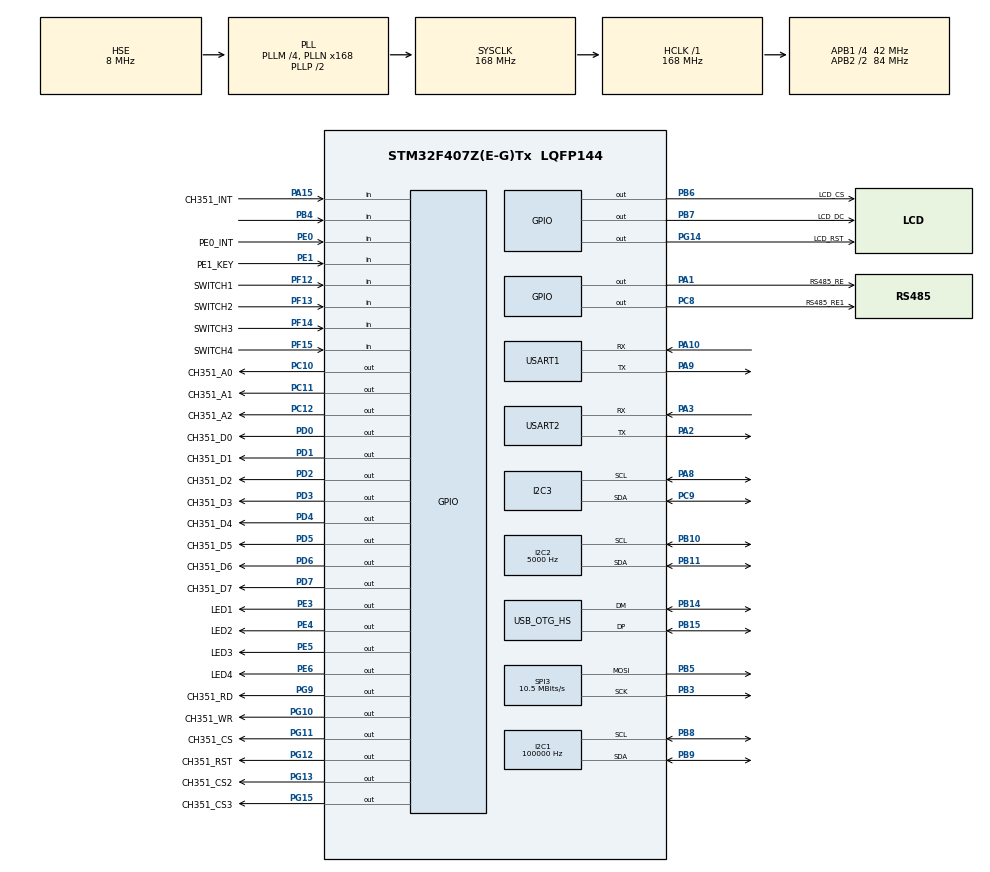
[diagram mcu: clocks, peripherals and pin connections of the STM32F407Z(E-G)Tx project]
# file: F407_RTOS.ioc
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Dma.Request0=USART2_RX
Dma.Request1=USART2_TX
Dma.Request2=SPI3_TX
Dma.Request3=USART1_RX
Dma.Request4=USART1_TX
Dma.SPI3_TX.2.Direction=DMA_MEMORY_TO_PERIPH
Dma.SPI3_TX.2.FIFOMode=DMA_FIFOMODE_DISABLE
Dma.SPI3_TX.2.Instance=DMA1_Stream7
Dma.SPI3_TX.2.MemDataAlignment=DMA_MDATAALIGN_BYTE
Dma.SPI3_TX.2.MemInc=DMA_MINC_ENABLE
Dma.SPI3_TX.2.Mode=DMA_NORMAL
Dma.SPI3_TX.2.PeriphDataAlignment=DMA_PDATAALIGN_BYTE
Dma.SPI3_TX.2.PeriphInc=DMA_PINC_DISABLE
Dma.SPI3_TX.2.Priority=DMA_PRIORITY_LOW
Dma.USART1_RX.3.Direction=DMA_PERIPH_TO_MEMORY
Dma.USART1_RX.3.FIFOMode=DMA_FIFOMODE_DISABLE
Dma.USART1_RX.3.Instance=DMA2_Stream2
Dma.USART1_RX.3.MemDataAlignment=DMA_MDATAALIGN_BYTE
Dma.USART1_RX.3.MemInc=DMA_MINC_ENABLE
Dma.USART1_RX.3.Mode=DMA_NORMAL
Dma.USART1_RX.3.PeriphDataAlignment=DMA_PDATAALIGN_BYTE
Dma.USART1_RX.3.PeriphInc=DMA_PINC_DISABLE
Dma.USART1_RX.3.Priority=DMA_PRIORITY_LOW
Dma.USART1_TX.4.Direction=DMA_MEMORY_TO_PERIPH
Dma.USART1_TX.4.FIFOMode=DMA_FIFOMODE_DISABLE
Dma.USART1_TX.4.Instance=DMA2_Stream7
Dma.USART1_TX.4.MemDataAlignment=DMA_MDATAALIGN_BYTE
Dma.USART1_TX.4.MemInc=DMA_MINC_ENABLE
Dma.USART1_TX.4.Mode=DMA_NORMAL
Dma.USART1_TX.4.PeriphDataAlignment=DMA_PDATAALIGN_BYTE
Dma.USART1_TX.4.PeriphInc=DMA_PINC_DISABLE
Dma.USART1_TX.4.Priority=DMA_PRIORITY_LOW
Dma.USART2_RX.0.Direction=DMA_PERIPH_TO_MEMORY
Dma.USART2_RX.0.FIFOMode=DMA_FIFOMODE_DISABLE
Dma.USART2_RX.0.Instance=DMA1_Stream5
Dma.USART2_RX.0.MemDataAlignment=DMA_MDATAALIGN_BYTE
Dma.USART2_RX.0.MemInc=DMA_MINC_ENABLE
Dma.USART2_RX.0.Mode=DMA_NORMAL
Dma.USART2_RX.0.PeriphDataAlignment=DMA_PDATAALIGN_BYTE
Dma.USART2_RX.0.PeriphInc=DMA_PINC_DISABLE
Dma.USART2_RX.0.Priority=DMA_PRIORITY_LOW
Dma.USART2_TX.1.Direction=DMA_MEMORY_TO_PERIPH
Dma.USART2_TX.1.FIFOMode=DMA_FIFOMODE_DISABLE
Dma.USART2_TX.1.Instance=DMA1_Stream6
Dma.USART2_TX.1.MemDataAlignment=DMA_MDATAALIGN_BYTE
Dma.USART2_TX.1.MemInc=DMA_MINC_ENABLE
Dma.USART2_TX.1.Mode=DMA_NORMAL
Dma.USART2_TX.1.PeriphDataAlignment=DMA_PDATAALIGN_BYTE
Dma.USART2_TX.1.PeriphInc=DMA_PINC_DISABLE
Dma.USART2_TX.1.Priority=DMA_PRIORITY_LOW
FREERTOS.Tasks01=defaultTask,0,128,StartDefaultTask,Default,NULL,Dynamic,NULL,NULL;Device01,-3,128,Device01_task,Default,NULL,Dynamic,NULL,NULL;Device02,-3,128,Device02_task,Default,NULL,Dynamic,NULL,NULL;Device03,-3,128,Device03_task,Default,NULL,Dynamic,NULL,NULL;Device04,-3,128,Device04_task,Default,NULL,Dynamic,NULL,NULL;Device05,-3,128,Device05_task,Default,NULL,Dynamic,NULL,NULL;Device06,-3,128,Device06_task,Default,NULL,Dynamic,NULL,NULL;Device07,-3,128,Device07_task,Default,NULL,Dynamic,NULL,NULL;Device08,-3,128,Device08_task,Default,NULL,Dynamic,NULL,NULL;Device09,-3,128,Device09_task,Default,NULL,Dynamic,NULL,NULL;Device0A,-3,128,Device0A_task,Default,NULL,Dynamic,NULL,NULL;Device0B,-3,128,Device0B_task,Default,NULL,Dynamic,NULL,NULL;Device0C,-3,128,Device0C_task,Default,NULL,Dynamic,NULL,NULL;Device0D,-3,128,Device0D_task,Default,NULL,Dynamic,NULL,NULL;Device0E,-3,128,Device0E_task,Default,NULL,Dynamic,NULL,NULL;Device0F,-3,128,Device0F_task,Default,NULL,Dynamic,NULL,NULL;RS485_Slave,-3,128,RS485_Slave_task,Default,NULL,Dynamic,NULL,NULL;RS485_Master,-3,128,RS485_Master_task,Default,NULL,Dynamic,NULL,NULL
I2C1.ClockSpeed=100000
I2C1.I2C_Mode=I2C_Standard
I2C2.ClockSpeed=5000
Mcu.Family=STM32F4
Mcu.Name=STM32F407Z(E-G)Tx
Mcu.Package=LQFP144
NVIC.DMA1_Stream5_IRQn=true\:5\:0\:false\:false\:true\:true\:false\:true\:true
NVIC.DMA1_Stream6_IRQn=true\:5\:0\:false\:false\:true\:true\:false\:true\:true
NVIC.DMA1_Stream7_IRQn=true\:5\:0\:false\:false\:true\:true\:false\:true\:true
NVIC.DMA2_Stream2_IRQn=true\:5\:0\:false\:false\:true\:true\:false\:true\:true
NVIC.DMA2_Stream7_IRQn=true\:5\:0\:false\:false\:true\:true\:false\:true\:true
NVIC.OTG_HS_EP1_IN_IRQn=true\:5\:0\:false\:false\:true\:true\:true\:true\:true
NVIC.OTG_HS_EP1_OUT_IRQn=true\:5\:0\:false\:false\:true\:true\:true\:true\:true
NVIC.OTG_HS_IRQn=true\:5\:0\:false\:false\:true\:true\:false\:true\:true
NVIC.PriorityGroup=NVIC_PRIORITYGROUP_4
NVIC.TIM7_IRQn=true\:15\:0\:false\:false\:true\:false\:false\:true\:true
NVIC.TimeBase=TIM7_IRQn
NVIC.TimeBaseIP=TIM7
NVIC.USART1_IRQn=true\:5\:0\:false\:false\:true\:true\:true\:true\:true
NVIC.USART2_IRQn=true\:5\:0\:false\:false\:true\:true\:true\:true\:true
PA1.GPIO_Label=RS485_RE
PA1.Signal=GPIO_Output
PA10.Mode=Asynchronous
PA10.Signal=USART1_RX
PA13.Mode=Serial_Wire
PA13.Signal=SYS_JTMS-SWDIO
PA14.Mode=Serial_Wire
PA14.Signal=SYS_JTCK-SWCLK
PA15.GPIO_Label=CH351_INT
PA15.Signal=GPIO_Input
PA2.Mode=Asynchronous
PA2.Signal=USART2_TX
PA3.Mode=Asynchronous
PA3.Signal=USART2_RX
PA8.Mode=I2C
PA8.Signal=I2C3_SCL
PA9.Mode=Asynchronous
PA9.Signal=USART1_TX
PB10.GPIO_Pu=GPIO_PULLUP
PB10.Mode=I2C
PB10.Signal=I2C2_SCL
PB11.Mode=I2C
PB11.Signal=I2C2_SDA
PB14.Mode=Device_Only_FS
PB14.Signal=USB_OTG_HS_DM
PB15.Mode=Device_Only_FS
PB15.Signal=USB_OTG_HS_DP
PB3.Mode=TX_Only_Simplex_Unidirect_Master
PB3.Signal=SPI3_SCK
PB4.Signal=GPIO_Input
PB5.Mode=TX_Only_Simplex_Unidirect_Master
PB5.Signal=SPI3_MOSI
PB6.GPIO_Label=LCD_CS
PB6.Signal=GPIO_Output
PB7.GPIO_Label=LCD_DC
PB7.Signal=GPIO_Output
PB8.Mode=I2C
PB8.Signal=I2C1_SCL
PB9.GPIO_Pu=GPIO_PULLUP
PB9.Mode=I2C
PB9.Signal=I2C1_SDA
PC10.GPIO_Label=CH351_A0
PC10.Signal=GPIO_Output
PC11.GPIO_Label=CH351_A1
PC11.Signal=GPIO_Output
PC12.GPIO_Label=CH351_A2
PC12.Signal=GPIO_Output
PC8.GPIO_Label=RS485_RE1
PC8.Signal=GPIO_Output
PC9.Mode=I2C
PC9.Signal=I2C3_SDA
PD0.GPIO_Label=CH351_D0
PD0.GPIO_ModeDefaultOutputPP=GPIO_MODE_OUTPUT_PP
PD0.GPIO_PuPd=GPIO_NOPULL
PD0.Signal=GPIO_Output
PD1.GPIO_Label=CH351_D1
PD1.GPIO_ModeDefaultOutputPP=GPIO_MODE_OUTPUT_PP
PD1.GPIO_PuPd=GPIO_NOPULL
PD1.Signal=GPIO_Output
PD2.GPIO_Label=CH351_D2
PD2.GPIO_ModeDefaultOutputPP=GPIO_MODE_OUTPUT_PP
PD2.GPIO_PuPd=GPIO_NOPULL
PD2.Signal=GPIO_Output
PD3.GPIO_Label=CH351_D3
PD3.GPIO_ModeDefaultOutputPP=GPIO_MODE_OUTPUT_PP
PD3.GPIO_PuPd=GPIO_NOPULL
PD3.Signal=GPIO_Output
PD4.GPIO_Label=CH351_D4
PD4.GPIO_ModeDefaultOutputPP=GPIO_MODE_OUTPUT_PP
PD4.GPIO_PuPd=GPIO_NOPULL
PD4.Signal=GPIO_Output
PD5.GPIO_Label=CH351_D5
PD5.GPIO_ModeDefaultOutputPP=GPIO_MODE_OUTPUT_PP
PD5.GPIO_PuPd=GPIO_NOPULL
PD5.Signal=GPIO_Output
PD6.GPIO_Label=CH351_D6
PD6.GPIO_ModeDefaultOutputPP=GPIO_MODE_OUTPUT_PP
PD6.GPIO_PuPd=GPIO_NOPULL
PD6.Signal=GPIO_Output
PD7.GPIO_Label=CH351_D7
PD7.GPIO_ModeDefaultOutputPP=GPIO_MODE_OUTPUT_PP
PD7.GPIO_PuPd=GPIO_NOPULL
PD7.Signal=GPIO_Output
PE0.GPIO_Label=PE0_INT
PE0.Signal=GPIO_Input
PE1.GPIO_Label=PE1_KEY
PE1.Signal=GPIO_Input
PE3.GPIO_Label=LED1
PE3.Signal=GPIO_Output
PE4.GPIO_Label=LED2
PE4.Signal=GPIO_Output
PE5.GPIO_Label=LED3
PE5.Signal=GPIO_Output
PE6.GPIO_Label=LED4
PE6.Signal=GPIO_Output
PF12.GPIO_Label=SWITCH1
PF12.GPIO_PuPd=GPIO_PULLUP
PF12.Signal=GPIO_Input
PF13.GPIO_Label=SWITCH2
PF13.GPIO_PuPd=GPIO_PULLUP
PF13.Signal=GPIO_Input
PF14.GPIO_Label=SWITCH3
PF14.GPIO_PuPd=GPIO_PULLUP
PF14.Signal=GPIO_Input
PF15.GPIO_Label=SWITCH4
PF15.GPIO_PuPd=GPIO_PULLUP
PF15.Signal=GPIO_Input
PG10.GPIO_Label=CH351_WR
PG10.Signal=GPIO_Output
PG11.GPIO_Label=CH351_CS
PG11.Signal=GPIO_Output
PG12.GPIO_Label=CH351_RST
PG12.Signal=GPIO_Output
PG13.GPIO_Label=CH351_CS2
PG13.Signal=GPIO_Output
PG14.GPIO_Label=LCD_RST
PG14.Signal=GPIO_Output
PG15.GPIO_Label=CH351_CS3
PG15.Signal=GPIO_Output
PG9.GPIO_Label=CH351_RD
PG9.Signal=GPIO_Output
PH0-OSC_IN.Mode=HSE-External-Oscillator
PH0-OSC_IN.Signal=RCC_OSC_IN
PH1-OSC_OUT.Mode=HSE-External-Oscillator
PH1-OSC_OUT.Signal=RCC_OSC_OUT
ProjectManager.HeapSize=0x200
ProjectManager.StackSize=0x400
ProjectManager.TargetToolchain=MDK-ARM V5
RCC.48MHZClocksFreq_Value=48000000
RCC.AHBFreq_Value=168000000
RCC.APB1CLKDivider=RCC_HCLK_DIV4
RCC.APB1Freq_Value=42000000
RCC.APB1TimFreq_Value=84000000
RCC.APB2CLKDivider=RCC_HCLK_DIV2
RCC.APB2Freq_Value=84000000
RCC.APB2TimFreq_Value=168000000
RCC.CortexFreq_Value=168000000
RCC.HCLKFreq_Value=168000000
RCC.HSE_VALUE=8000000
RCC.HSI_VALUE=16000000
RCC.LSE_VALUE=32768
RCC.PLLM=4
RCC.PLLN=168
RCC.PLLQ=7
RCC.SYSCLKFreq_VALUE=168000000
RCC.SYSCLKSource=RCC_SYSCLKSOURCE_PLLCLK
RCC.VCOOutputFreq_Value=336000000
SPI3.BaudRatePrescaler=SPI_BAUDRATEPRESCALER_4
SPI3.CLKPhase=SPI_PHASE_2EDGE
SPI3.CLKPolarity=SPI_POLARITY_HIGH
SPI3.CalculateBaudRate=10.5 MBits/s
SPI3.Direction=SPI_DIRECTION_2LINES
SPI3.Mode=SPI_MODE_MASTER
SPI3.VirtualType=VM_MASTER
USART1.VirtualMode=VM_ASYNC
USART2.VirtualMode=VM_ASYNC
USB_DEVICE.CLASS_NAME_HS=CUSTOM_HID
USB_DEVICE.USBD_CUSTOMHID_OUTREPORT_BUF_SIZE-CUSTOM_HID_HS=64
USB_DEVICE.USBD_CUSTOM_HID_REPORT_DESC_SIZE-CUSTOM_HID_HS=34
USB_DEVICE.VirtualMode-CDC_HS=Cdc
USB_DEVICE.VirtualMode-CUSTOM_HID_HS=CustomHid
USB_DEVICE.VirtualModeHS=Custom_Hid_HS
USB_OTG_HS.VirtualMode-Device_Only_FS=Device_Only_FS
VP_FREERTOS_VS_CMSIS_V1.Mode=CMSIS_V1
VP_SYS_VS_tim7.Mode=TIM7
VP_USB_DEVICE_VS_USB_DEVICE_CUSTOM_HID_HS.Mode=CUSTOM_HID_HS
board=custom

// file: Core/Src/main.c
/* USER CODE BEGIN Header */
/**
  ******************************************************************************
  * @file           : main.c
  * @brief          : Main program body
  ******************************************************************************
  * @attention
  *
  * Copyright (c) 2023 STMicroelectronics.
  * All rights reserved.
  *
  * This software is licensed under terms that can be found in the LICENSE file
  * in the root directory of this software component.
  * If no LICENSE file comes with this software, it is provided AS-IS.
  *
  ******************************************************************************
  */
/* USER CODE END Header */
#include "main.h"
#include "cmsis_os.h"
#include "dma.h"
#include "i2c.h"
#include "spi.h"
#include "usart.h"
#include "usb_device.h"
#include "gpio.h"

/* USER CODE BEGIN Includes */

#define OPEN 1
#define OFF  0
//定义设备开关状态

uint8_t   CH423_6LED_5LED_2KEY=0;    //车载电源
uint8_t   CH423_20LED_1KEY=0;        //数化同传
uint8_t   CH423_8LED_3KEY=0;         //安全防护
uint8_t   CH453_12NUM_3LED_10KEY=0;  //电源管理器
uint8_t   LCD_CH351KEY_CH45210KEY=0; //BD时钟接线盒
uint8_t   CH351_20LED_2KEY=0;        //网络通信控制设备
uint8_t   CH351_24LED_2KEY=0;        //综合接口设备
uint8_t   CH351_8LED_24KEY=0;        //司机右面板
uint8_t   OLED1_3_9KEY=0;            //同步设备
uint8_t   RS485_WORK_SLAVE=0;        //RS485通信任务
uint8_t   DECEIVE_ID=0;              //设备ID
uint16_t  FUNCTION_ID;               //启用功能id
uint8_t   SWITCH_MODE=0;             //开关状态

/* USER CODE END Includes */

/* USER CODE BEGIN PTD */
//		HAL_GPIO_WritePin(LED1_GPIO_Port,LED1_Pin,GPIO_PIN_SET);
//    HAL_Delay(500);
//		HAL_GPIO_WritePin(LED1_GPIO_Port,LED1_Pin,GPIO_PIN_RESET);
//    HAL_Delay(500);
//		HAL_GPIO_WritePin(LED2_GPIO_Port,LED2_Pin,GPIO_PIN_SET);
//    HAL_Delay(500);
//		HAL_GPIO_WritePin(LED2_GPIO_Port,LED2_Pin,GPIO_PIN_RESET);
//    HAL_Delay(500);
//		HAL_GPIO_WritePin(LED3_GPIO_Port,LED3_Pin,GPIO_PIN_SET);
//    HAL_Delay(500);
//		HAL_GPIO_WritePin(LED3_GPIO_Port,LED3_Pin,GPIO_PIN_RESET);
//    HAL_Delay(500);
//		HAL_GPIO_WritePin(LED4_GPIO_Port,LED4_Pin,GPIO_PIN_SET);
//    HAL_Delay(500);
//		HAL_GPIO_WritePin(LED4_GPIO_Port,LED4_Pin,GPIO_PIN_RESET);
//    HAL_Delay(500);
/* USER CODE END PTD */

/* USER CODE BEGIN PM */
void GET_SWITCH(void)
{
    SWITCH_MODE+=HAL_GPIO_ReadPin(SWITCH1_GPIO_Port,SWITCH1_Pin);
	  SWITCH_MODE=SWITCH_MODE<<1;
	  SWITCH_MODE+=HAL_GPIO_ReadPin(SWITCH2_GPIO_Port,SWITCH2_Pin);
	  SWITCH_MODE=SWITCH_MODE<<1;
	  SWITCH_MODE+=HAL_GPIO_ReadPin(SWITCH3_GPIO_Port,SWITCH3_Pin);
	  SWITCH_MODE=SWITCH_MODE<<1;
	  SWITCH_MODE+=HAL_GPIO_ReadPin(SWITCH4_GPIO_Port,SWITCH4_Pin);
}
void CN_SELECT_init(void)
{
	 //首先根据拨码开关判断ID
	 //然后根据ID对相应的任务启动和初始化
	 //之后完成
	  DEVICE_ID_LIST_INIT();//地址表初始化
	  freertos_task_list=0; //任务列表初始化
	 	GET_SWITCH();         //拨码开关初始化
		switch (SWITCH_MODE)
		{
		   case Slave_1_ID://从机拨码开关
			 {
			    //0X01
			    freertos_task_list=Device_task_1_ID|Device_task_2_ID; //定义从机设备挂载的任务类型
				  RS485_WORK_SLAVE=1;   					                                      //打开从机接受功能
					DECEIVE_ID=SWITCH_MODE; 			                                        //定义从机设备ID
				  break;
			 }
			 case Slave_2_ID:
       {
          freertos_task_list=Device_task_3_ID;
				  RS485_WORK_SLAVE=1;
					DECEIVE_ID=SWITCH_MODE;
    		  break;

			 }
			 case Slave_3_ID:  break;
			 case Slave_4_ID:  break;
			 case Slave_5_ID:  break;
			 case Slave_6_ID:  break;
			 case Slave_7_ID:  break;
			 case Slave_8_ID:  break;
			 case Slave_9_ID:  break;
			 case Slave_10_ID: break;
			 case Master_1_ID:
			 {

			 	  RS485_WORK_SLAVE=0;
			    break;
			 }

	 }

	 return;

		 	 //CH423_6LED_5LED_2KEY=1;

//	// GET_SWITCH();
//   if(SWITCH_MODE==0x0f)//没有开关或者全部拉高，默认主机模式
//	 {
//	     RS485_WORK_SLAVE=0;
//	 }
//	 else
//	 {
//			 CH423_20LED_1KEY=1;
//			 //CH423_6LED_5LED_2KEY=1;
//			 //CH423_8LED_3KEY=1;
//			 //CH453_12NUM_3LED_10KEY=1;
//			 //CH351_20LED_2KEY=1;
//			 //LCD_CH351KEY_CH45210KEY=1;
//			 //CH351_24LED_2KEY=1;
//			 //CH351_8LED_24KEY=1;
//			 //OLED1_3_9KEY=1;
//			 RS485_WORK_SLAVE=1;
//			 FUNCTION_ID=0x55;
//			 DECEIVE_ID=1;
//	 }

}
/* USER CODE END PM */

void SystemClock_Config(void);
void MX_FREERTOS_Init(void);

int main(void)
{

  /* MCU Configuration--------------------------------------------------------*/

  /* Reset of all peripherals, Initializes the Flash interface and the Systick. */
  HAL_Init();

  /* Configure the system clock */
  SystemClock_Config();

  /* USER CODE BEGIN SysInit */
  MX_DMA_Init();
	MX_USB_DEVICE_Init();
  /* USER CODE END SysInit */

  /* Initialize all configured peripherals */
  MX_GPIO_Init();
  MX_DMA_Init();
  MX_I2C2_Init();
  MX_SPI3_Init();
  MX_I2C1_Init();
  MX_USART2_UART_Init();
  MX_USART1_UART_Init();
  MX_I2C3_Init();
  /* USER CODE BEGIN 2 */
  CN_SELECT_init();
  /* USER CODE END 2 */

  /* Call init function for freertos objects (in freertos.c) */
  MX_FREERTOS_Init();
  /* Start scheduler */
  osKernelStart();

  /* We should never get here as control is now taken by the scheduler */
  /* Infinite loop */
  while (1)
  {

  }
}

void SystemClock_Config(void)
{
  RCC_OscInitTypeDef RCC_OscInitStruct = {0};
  RCC_ClkInitTypeDef RCC_ClkInitStruct = {0};

  /** Configure the main internal regulator output voltage
  */
  __HAL_RCC_PWR_CLK_ENABLE();
  __HAL_PWR_VOLTAGESCALING_CONFIG(PWR_REGULATOR_VOLTAGE_SCALE1);
  /** Initializes the RCC Oscillators according to the specified parameters
  * in the RCC_OscInitTypeDef structure.
  */
  RCC_OscInitStruct.OscillatorType = RCC_OSCILLATORTYPE_HSE;
  RCC_OscInitStruct.HSEState = RCC_HSE_ON;
  RCC_OscInitStruct.PLL.PLLState = RCC_PLL_ON;
  RCC_OscInitStruct.PLL.PLLSource = RCC_PLLSOURCE_HSE;
  RCC_OscInitStruct.PLL.PLLM = 4;
  RCC_OscInitStruct.PLL.PLLN = 168;
  RCC_OscInitStruct.PLL.PLLP = RCC_PLLP_DIV2;
  RCC_OscInitStruct.PLL.PLLQ = 7;
  if (HAL_RCC_OscConfig(&RCC_OscInitStruct) != HAL_OK)
  {
    Error_Handler();
  }
  /** Initializes the CPU, AHB and APB buses clocks
  */
  RCC_ClkInitStruct.ClockType = RCC_CLOCKTYPE_HCLK|RCC_CLOCKTYPE_SYSCLK
                              |RCC_CLOCKTYPE_PCLK1|RCC_CLOCKTYPE_PCLK2;
  RCC_ClkInitStruct.SYSCLKSource = RCC_SYSCLKSOURCE_PLLCLK;
  RCC_ClkInitStruct.AHBCLKDivider = RCC_SYSCLK_DIV1;
  RCC_ClkInitStruct.APB1CLKDivider = RCC_HCLK_DIV4;
  RCC_ClkInitStruct.APB2CLKDivider = RCC_HCLK_DIV2;

  if (HAL_RCC_ClockConfig(&RCC_ClkInitStruct, FLASH_LATENCY_5) != HAL_OK)
  {
    Error_Handler();
  }
}

/* USER CODE BEGIN 4 */
//外部中断函数
void HAL_GPIO_EXTI_Callback(uint16_t GPIO_Pin)
{
   if(GPIO_Pin==CH351_INT_Pin)
	 {
	    int a;
		  a++;
	 }

}
/* USER CODE END 4 */

void HAL_TIM_PeriodElapsedCallback(TIM_HandleTypeDef *htim)
{
  if (htim->Instance == TIM7) {
    HAL_IncTick();
  }
}

void Error_Handler(void)
{
  __disable_irq();
  while (1)
  {
  }
}

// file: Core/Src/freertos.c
/* USER CODE BEGIN Header */
/**
  ******************************************************************************
  * File Name          : freertos.c
  * Description        : Code for freertos applications
  ******************************************************************************
  * @attention
  *
  * Copyright (c) 2023 STMicroelectronics.
  * All rights reserved.
  *
  * This software is licensed under terms that can be found in the LICENSE file
  * in the root directory of this software component.
  * If no LICENSE file comes with this software, it is provided AS-IS.
  *
  ******************************************************************************
  */
/* USER CODE END Header */

#include "FreeRTOS.h"
#include "task.h"
#include "main.h"
#include "cmsis_os.h"

/* USER CODE BEGIN Includes */

 #include "RS485_work.h"
 #include "usbd_customhid.h"
#include "usbd_ctlreq.h"
#include "i2c.h"

/* USER CODE END Includes */

/* USER CODE BEGIN PTD */
uint8_t a=0;
/* USER CODE END PTD */

osThreadId defaultTaskHandle;
osThreadId Device01Handle;
osThreadId Device02Handle;
osThreadId Device03Handle;
osThreadId Device04Handle;
osThreadId Device05Handle;
osThreadId Device06Handle;
osThreadId Device07Handle;
osThreadId Device08Handle;
osThreadId Device09Handle;
osThreadId Device0AHandle;
osThreadId Device0BHandle;
osThreadId Device0CHandle;
osThreadId Device0DHandle;
osThreadId Device0EHandle;
osThreadId Device0FHandle;
osThreadId RS485_SlaveHandle;
osThreadId RS485_MasterHandle;

void StartDefaultTask(void const * argument);
void Device01_task(void const * argument);
void Device02_task(void const * argument);
void Device03_task(void const * argument);
void Device04_task(void const * argument);
void Device05_task(void const * argument);
void Device06_task(void const * argument);
void Device07_task(void const * argument);
void Device08_task(void const * argument);
void Device09_task(void const * argument);
void Device0A_task(void const * argument);
void Device0B_task(void const * argument);
void Device0C_task(void const * argument);
void Device0D_task(void const * argument);
void Device0E_task(void const * argument);
void Device0F_task(void const * argument);
void RS485_Slave_task(void const * argument);
void RS485_Master_task(void const * argument);

extern void MX_USB_DEVICE_Init(void);
void MX_FREERTOS_Init(void); /* (MISRA C 2004 rule 8.1) */

/* GetIdleTaskMemory prototype (linked to static allocation support) */
void vApplicationGetIdleTaskMemory( StaticTask_t **ppxIdleTaskTCBBuffer, StackType_t **ppxIdleTaskStackBuffer, uint32_t *pulIdleTaskStackSize );

/* USER CODE BEGIN GET_IDLE_TASK_MEMORY */
static StaticTask_t xIdleTaskTCBBuffer;
static StackType_t xIdleStack[configMINIMAL_STACK_SIZE];

void vApplicationGetIdleTaskMemory( StaticTask_t **ppxIdleTaskTCBBuffer, StackType_t **ppxIdleTaskStackBuffer, uint32_t *pulIdleTaskStackSize )
{
  *ppxIdleTaskTCBBuffer = &xIdleTaskTCBBuffer;
  *ppxIdleTaskStackBuffer = &xIdleStack[0];
  *pulIdleTaskStackSize = configMINIMAL_STACK_SIZE;
  /* place for user code */
}
/* USER CODE END GET_IDLE_TASK_MEMORY */

void MX_FREERTOS_Init(void) {
  /* USER CODE BEGIN Init */

	    /* definition and creation of defaultTask */
      osThreadDef(defaultTask, StartDefaultTask, osPriorityNormal, 0, 128);
      defaultTaskHandle = osThreadCreate(osThread(defaultTask), NULL);
	    //默认启动任务
  if((freertos_task_list&Device_task_1_ID)!=OFF)
	{
	     osThreadDef(Device01, Device01_task, osPriorityIdle, 0, 128);
       Device01Handle = osThreadCreate(osThread(Device01), NULL);
	}
	if((freertos_task_list&Device_task_2_ID)!=OFF)
	{
	     osThreadDef(Device02, Device02_task, osPriorityIdle, 0, 128);
       Device01Handle = osThreadCreate(osThread(Device02), NULL);
	}
	if((freertos_task_list&Device_task_3_ID)!=OFF)
	{
		   /* definition and creation of Device03 */
      osThreadDef(Device03, Device03_task, osPriorityIdle, 0, 128);
      Device03Handle = osThreadCreate(osThread(Device03), NULL);
	}
	if((freertos_task_list&Device_task_4_ID)!=OFF)
	{
       /* definition and creation of Device04 */
       osThreadDef(Device04, Device04_task, osPriorityIdle, 0, 128);
       Device04Handle = osThreadCreate(osThread(Device04), NULL);
	}
	if((freertos_task_list&Device_task_5_ID)!=OFF)
	{
       /* definition and creation of Device05 */
       osThreadDef(Device05, Device05_task, osPriorityIdle, 0, 128);
       Device05Handle = osThreadCreate(osThread(Device05), NULL);
	}
	if((freertos_task_list&Device_task_6_ID)!=OFF)
  {
       /* definition and creation of Device06 */
       osThreadDef(Device06, Device06_task, osPriorityIdle, 0, 128);
       Device06Handle = osThreadCreate(osThread(Device06), NULL);
	}
	if((freertos_task_list&Device_task_7_ID)!=OFF)
	{
       /* definition and creation of Device07 */
       osThreadDef(Device07, Device07_task, osPriorityIdle, 0, 128);
       Device07Handle = osThreadCreate(osThread(Device07), NULL);
	}
	if((freertos_task_list&Device_task_8_ID)!=OFF)
	{
	     /* definition and creation of Device08 */
       osThreadDef(Device08, Device08_task, osPriorityIdle, 0, 128);
       Device08Handle = osThreadCreate(osThread(Device08), NULL);
	}
	if((freertos_task_list&Device_task_9_ID)!=OFF)
	{
		   /* definition and creation of Device09 */
       osThreadDef(Device09, Device09_task, osPriorityIdle, 0, 128);
       Device09Handle = osThreadCreate(osThread(Device09), NULL);
	}
	      osThreadDef(Device0F, Device0F_task, osPriorityIdle, 0, 128);
       Device0FHandle = osThreadCreate(osThread(Device0F), NULL);
	if(RS485_WORK_SLAVE==OPEN) //非主即从
	{
		   /* definition and creation of RS485_Slave */
       osThreadDef(RS485_Slave, RS485_Slave_task, osPriorityIdle, 0, 128);
       RS485_SlaveHandle = osThreadCreate(osThread(RS485_Slave), NULL);

	}
	else
	{
	     osThreadDef(RS485_Master, RS485_Master_task, osPriorityIdle, 0, 128);
       RS485_MasterHandle = osThreadCreate(osThread(RS485_Master), NULL);
	}

	 /* definition and creation of myTask10 */
//	if((freertos_task_list&Device_task_1_ID)!=OFF)   //不是主机就是从机
//	{
//     osThreadDef(myTask10, StartTask10, osPriorityIdle, 0, 128);
//     myTask10Handle = osThreadCreate(osThread(myTask10), NULL);
//	}
//	else
//	{
//      /* definition and creation of myTask11 */
//      osThreadDef(myTask11, StartTask11, osPriorityIdle, 0, 128);
//      myTask11Handle = osThreadCreate(osThread(myTask11), NULL);
//	}
	return ;
  /* USER CODE END Init */

  /* Create the thread(s) */
  /* definition and creation of defaultTask */
  //osThreadDef(defaultTask, StartDefaultTask, osPriorityNormal, 0, 128);
  defaultTaskHandle = osThreadCreate(osThread(defaultTask), NULL);

  /* definition and creation of Device01 */
  osThreadDef(Device01, Device01_task, osPriorityIdle, 0, 128);
  Device01Handle = osThreadCreate(osThread(Device01), NULL);

  /* definition and creation of Device02 */
  osThreadDef(Device02, Device02_task, osPriorityIdle, 0, 128);
  Device02Handle = osThreadCreate(osThread(Device02), NULL);

  /* definition and creation of Device03 */
  osThreadDef(Device03, Device03_task, osPriorityIdle, 0, 128);
  Device03Handle = osThreadCreate(osThread(Device03), NULL);

  /* definition and creation of Device04 */
  osThreadDef(Device04, Device04_task, osPriorityIdle, 0, 128);
  Device04Handle = osThreadCreate(osThread(Device04), NULL);

  /* definition and creation of Device05 */
  osThreadDef(Device05, Device05_task, osPriorityIdle, 0, 128);
  Device05Handle = osThreadCreate(osThread(Device05), NULL);

  /* definition and creation of Device06 */
  osThreadDef(Device06, Device06_task, osPriorityIdle, 0, 128);
  Device06Handle = osThreadCreate(osThread(Device06), NULL);

  /* definition and creation of Device07 */
  osThreadDef(Device07, Device07_task, osPriorityIdle, 0, 128);
  Device07Handle = osThreadCreate(osThread(Device07), NULL);

  /* definition and creation of Device08 */
  osThreadDef(Device08, Device08_task, osPriorityIdle, 0, 128);
  Device08Handle = osThreadCreate(osThread(Device08), NULL);

  /* definition and creation of Device09 */
  osThreadDef(Device09, Device09_task, osPriorityIdle, 0, 128);
  Device09Handle = osThreadCreate(osThread(Device09), NULL);

  /* definition and creation of Device0A */
  osThreadDef(Device0A, Device0A_task, osPriorityIdle, 0, 128);
  Device0AHandle = osThreadCreate(osThread(Device0A), NULL);

  /* definition and creation of Device0B */
  osThreadDef(Device0B, Device0B_task, osPriorityIdle, 0, 128);
  Device0BHandle = osThreadCreate(osThread(Device0B), NULL);

  /* definition and creation of Device0C */
  osThreadDef(Device0C, Device0C_task, osPriorityIdle, 0, 128);
  Device0CHandle = osThreadCreate(osThread(Device0C), NULL);

  /* definition and creation of Device0D */
  osThreadDef(Device0D, Device0D_task, osPriorityIdle, 0, 128);
  Device0DHandle = osThreadCreate(osThread(Device0D), NULL);

  /* definition and creation of Device0E */
  osThreadDef(Device0E, Device0E_task, osPriorityIdle, 0, 128);
  Device0EHandle = osThreadCreate(osThread(Device0E), NULL);

  /* definition and creation of Device0F */
  //osThreadDef(Device0F, Device0F_task, osPriorityIdle, 0, 128);
  Device0FHandle = osThreadCreate(osThread(Device0F), NULL);

  /* definition and creation of RS485_Slave */
  osThreadDef(RS485_Slave, RS485_Slave_task, osPriorityIdle, 0, 128);
  RS485_SlaveHandle = osThreadCreate(osThread(RS485_Slave), NULL);

  /* definition and creation of RS485_Master */
  osThreadDef(RS485_Master, RS485_Master_task, osPriorityIdle, 0, 128);
  RS485_MasterHandle = osThreadCreate(osThread(RS485_Master), NULL);

}

/* USER CODE BEGIN Header_StartDefaultTask */
/**
  * @brief  Function implementing the defaultTask thread.
  * @param  argument: Not used
  * @retval None
  */

//变量统计
uint8_t  CH423_20_1RETURNKEY;//键盘返回变量
uint32_t CH423_20_1SETLED;   // LED控制变量
/* USER CODE END Header_StartDefaultTask */
void StartDefaultTask(void const * argument)
{
  /* init code for USB_DEVICE */
  MX_USB_DEVICE_Init();
  /* USER CODE BEGIN StartDefaultTask */

  /* Infinite loop */
  for(;;)
  {
	   HAL_GPIO_WritePin(LED2_GPIO_Port,LED2_Pin,GPIO_PIN_RESET);
		 osDelay(300);
		 HAL_GPIO_WritePin(LED2_GPIO_Port,LED2_Pin,GPIO_PIN_SET);
		 osDelay(300);
  }
  /* USER CODE END StartDefaultTask */
}

/* USER CODE BEGIN Header_Device01_task */
/**
* @brief Function implementing the Device01 thread.
* @param argument: Not used
* @retval None
*/
uint8_t  iic_init_clock=0;
/* USER CODE END Header_Device01_task */
void Device01_task(void const * argument)
{
  /* USER CODE BEGIN Device01_task */
	//这个任务是电源管理器任务
   CH351_7KEY_ONLY_init();
	 CH351_7KEY_ONLY_init_CN1();
	 CH453_12NUM_3LED_10KEY_init();
  /* Infinite loop */
  for(;;)
  {
	  // CH453_WRITE3LED(0x00);
		 CH351_8LED_WRITE(0x0f);
	   CH351_24KEY_GET7();
		 CH351_24KEY_GET7_CN1();
     HAL_GPIO_WritePin(LED2_GPIO_Port,LED2_Pin,GPIO_PIN_RESET);
		 //CH453_WRITE3LED(CH453_12NUM_3LED[12]);
		 CH351_8LED_WRITE_CN1(~CH453_12NUM_3LED[12]);
		 HAL_GPIO_WritePin(LED2_GPIO_Port,LED2_Pin,GPIO_PIN_SET);
		 osDelay(20);
	   //CH453_3_10_10KEY= CH453_READ10KEY();
		 CH453_WRITE12NUM(CH453_12NUM_3LED,12);
		 osDelay(20);

		 HAL_I2C_MspDeInit(&hi2c2);
		 osDelay(20);
		 HAL_I2C_MspInit(&hi2c2);
		 iic_init_clock++;
		 // MX_I2C2_Init();

  }
  /* USER CODE END Device01_task */
}

void Device02_task(void const * argument)
{
  /* USER CODE BEGIN Device02_task */
	//CH351_7KEY_ONLY_init();
  /* Infinite loop */
  for(;;)
  {
     //CH351_24KEY_GET7();
     osDelay(1000);
  }
  /* USER CODE END Device02_task */
}

/* USER CODE BEGIN Header_Device03_task */
/**
* @brief Function implementing the Device03 thread.
* @param argument: Not used
* @retval None
*/
//cechangbanganlunsi
/* USER CODE END Header_Device03_task */
void Device03_task(void const * argument)
{
  /* USER CODE BEGIN Device03_task */
	CH351_lunshi_init();
  /* Infinite loop */
  for(;;)
  {
		 //this task usb to drive use one ch351
     CH351_24KEY_ALL();
     CH351_8LED_ALL(0);//~lunshi_LED_8);
		 HAL_GPIO_WritePin(LED1_GPIO_Port,LED1_Pin,GPIO_PIN_SET);
     osDelay(3);
//		 HAL_GPIO_WritePin(LED1_GPIO_Port,LED1_Pin,GPIO_PIN_RESET);
//     osDelay(10);
  }
  /* USER CODE END Device03_task */
}

void Device04_task(void const * argument)
{
  for(;;)
  {
     osDelay(1);
  }
}

void Device05_task(void const * argument)
{
  for(;;)
  {
     osDelay(1);
  }
}

void Device06_task(void const * argument)
{
  for(;;)
  {
     osDelay(1);
  }
}

void Device07_task(void const * argument)
{
  for(;;)
  {
     osDelay(1);
  }
}

void Device08_task(void const * argument)
{
  for(;;)
  {
     osDelay(1);
  }
}

void Device09_task(void const * argument)
{
  for(;;)
  {
     osDelay(1);
  }
}

void Device0A_task(void const * argument)
{
  for(;;)
  {
     osDelay(1);
  }
}

void Device0B_task(void const * argument)
{
  for(;;)
  {
     osDelay(1);
  }
}

void Device0C_task(void const * argument)
{
  for(;;)
  {
     osDelay(1);
  }
}

void Device0D_task(void const * argument)
{
  for(;;)
  {
     osDelay(1);
  }
}

void Device0E_task(void const * argument)
{
  for(;;)
  {
     osDelay(1);
  }
}

/* USER CODE BEGIN Header_Device0F_task */
/**
* @brief Function implementing the Device0F thread.
* @param argument: Not used
* @retval None
*/
uint8_t USB_TXTX[64]={0X00,0xA5,0xFF,0xFF,0xFF};
/* USER CODE END Header_Device0F_task */
void Device0F_task(void const * argument)
{
  /* USER CODE BEGIN Device0F_task */
	  queue_init();
  /* Infinite loop */
  for(;;)
  {
	   osDelay(20);
		 queue_data_out(USB_TXTX,&usb_rx_queue);
	   USBD_CUSTOM_HID_SendReport(&hUsbDeviceHS, USB_TXTX, 64);

  }
  /* USER CODE END Device0F_task */
}

void RS485_Slave_task(void const * argument)
{
  /* USER CODE BEGIN RS485_Slave_task */
	RS485_init_slave();
  /* Infinite loop */
  for(;;)
  {
     osDelay(1);
		 if(receive_point==1)//收到数据需要回传
		 {
		     RS485_OPEN_TX;
		     osDelay(1);
				 HAL_UART_Transmit_DMA(&huart2,(uint8_t *)Slave_RS485_TX_buffer,RS485_TX_length);
		     osDelay(1);
				// RS485_OPEN_RX;
         receive_point=0;//关闭发送
		 }
  }
  /* USER CODE END RS485_Slave_task */
}

/* USER CODE BEGIN Header_RS485_Master_task */
/**
* @brief Function implementing the RS485_Master thread.
* @param argument: Not used
* @retval None
*/
uint8_t  hi[10]={"hello"};
uint8_t  word[10]={"world"};
uint8_t test;
/* USER CODE END Header_RS485_Master_task */
void RS485_Master_task(void const * argument)
{
  /* USER CODE BEGIN RS485_Master_task */
	RS485_init_Master();
  /* Infinite loop */
  for(;;)
  {

	   //if(usb_receive_point==1)
		 // {
				 Split_usb_data();
				// usb_receive_point=0;
		 //}
     osDelay(5);
  }
  /* USER CODE END RS485_Master_task */
}
